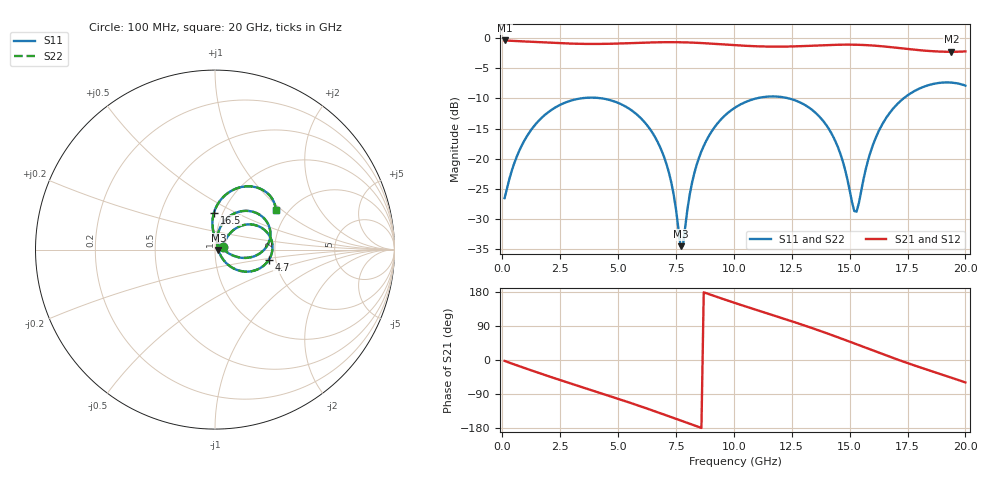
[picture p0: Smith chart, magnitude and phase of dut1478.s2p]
! Touchstone file exported from HFSS 2026.1.0
!  File:  C:/ffzhzh/LocalFiles/Ansys_Project_Files/temp_train_TSV_RDL_1478_1783362621_48288.aedt
!  Generated:  02:43:18 AM Jul  7, 2026
!  Design:  TSV_RDL
!  Project:  temp_train_TSV_RDL_1478_1783362621_48288
! Variables:
!  h_bsmrdl = 4.27um
!  h_ox = 20um
!  h_rdl = 5um
!  h_sub = 62.09um
!  h_tmrdl = 2.71um
!  h_tsv = 62.09um
!  h_via = 3um
!  l_bsmrdl = 999.87um
!  l_sub = 6900.99um
!  l_tmrdl = 845.84um
!  m_sub = 200um
!  pitch = 31.33um
!  r_tsv = 4.53um
!  s_tmrdl = 10um
!  w_bsmrdl = 25.8um
!  w_sub = 500um
!  w_tmrdl = 13.54um
!  x_tsv_center1 = 852.61um
!  x_tsv_center2 = 1878.28um
!  x_tsv_center3 = 2737.66um
!  x_tsv_center4 = 3763.33um
!  x_tsv_center5 = 4622.71um
!  x_tsv_center6 = 5648.38um
# GHz S MA R 50.000000
! Terminal data exported
! Port[1] = TM_RDL1_1_T1
! Port[2] = TM_RDL5_1_T1
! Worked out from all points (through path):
!   200 points, 100 MHz to 20 GHz, reference 50 ohm
!   highest |S21| = -0.39 dB at 100 MHz (marker M1); lowest = -2.3 dB at 19.4 GHz (marker M2)
!   group delay of S21, straight-line fit = 58.2 ps
!   lowest |S11| = -34.5 dB at 7.7 GHz (marker M3), VSWR 1.04, Z = 51.9 - j0.179 ohm
!   |S11| at or under -10 dB: start of sweep to 3.395 GHz; 4.302 GHz to 10.98 GHz (6.674 GHz wide, 87.4 % of centre); 12.37 GHz to 17.33 GHz (4.962 GHz wide, 33.4 % of centre)
!   |S22| runs from -34.4 to -7.3 dB; largest |S21 - S12| = 1.7e-14
!   S11 on the Smith chart (normalised r, x): 100 MHz: 1.09, +0.03; 4.7 GHz: 1.83, -0.24; 16.5 GHz: 0.91, +0.39; 20 GHz: 1.72, +0.90
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0.1  0.0471 18.9  0.956 -2.4  0.956 -2.4  0.0471 18.9
! Gamma 0 0 0 0
! Port Impedance 50 0 50 0
0.6  0.1011 46.1  0.9448 -13.5  0.9448 -13.5  0.1011 46.1
1.3  0.1789 44.4  0.931 -28.4  0.931 -28.4  0.1788 44.4
3.5  0.3182 10.0  0.8954 -72.7  0.8954 -72.7  0.3181 10.0
4.7  0.3042 -11.3  0.8979 -96.3  0.8979 -96.3  0.3042 -11.3
6.8  0.1266 -47.8  0.9237 -139.9  0.9237 -139.9  0.1266 -47.7
7.3  0.06333 -50.1  0.9252 -150.8  0.9252 -150.8  0.06332 -49.9
7.7  0.0188 -5.3  0.9234 -159.6  0.9234 -159.6  0.01898 -4.8
7.8  0.01895 35.1  0.9226 -161.8  0.9226 -161.8  0.01917 35.0
8.2  0.06381 78.9  0.9174 -170.6  0.9174 -170.6  0.06392 78.8
8.6  0.115 77.8  0.9098 -179.3  0.9098 -179.3  0.1151 77.8
10.1  0.2689 53.2  0.8722 149.4  0.8722 149.4  0.2689 53.3
11.8  0.3279 23.2  0.8493 116.0  0.8493 116.0  0.3279 23.2
13.4  0.2521 -4.6  0.865 83.8  0.865 83.8  0.252 -4.5
14.4  0.1375 -18.2  0.8799 62.1  0.8799 62.1  0.1375 -17.9
15.3  0.03634 48.9  0.8809 41.4  0.8809 41.4  0.03706 48.9
15.9  0.1132 96.0  0.8706 27.5  0.8706 27.5  0.1136 95.7
16.5  0.2061 91.6  0.8521 13.8  0.8521 13.8  0.2064 91.4
16.7  0.2352 88.7  0.8446 9.3  0.8446 9.3  0.2355 88.5
18  0.3805 66.6  0.7945 -18.5  0.7945 -18.5  0.3807 66.6
19.4  0.4276 42.8  0.7697 -46.7  0.7697 -46.7  0.4278 42.8
20  0.4035 33.0  0.7755 -59.2  0.7755 -59.2  0.4036 33.1
